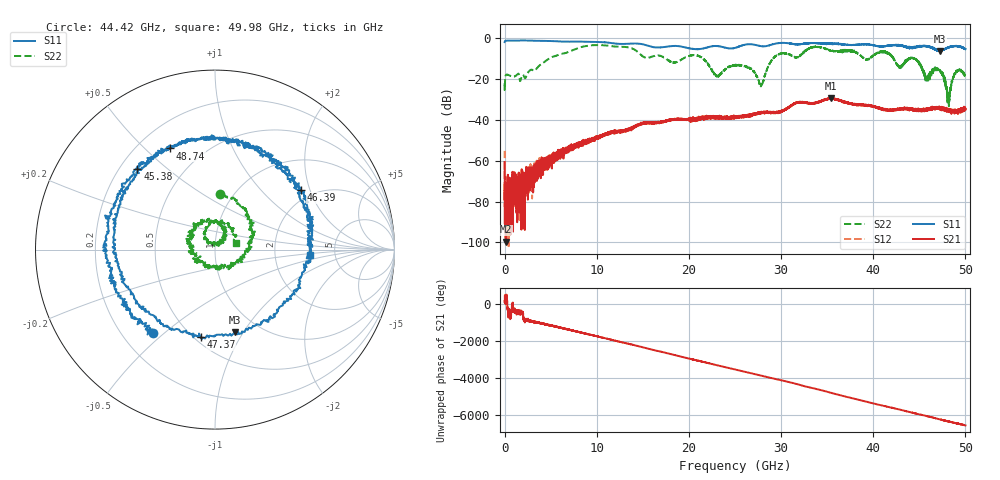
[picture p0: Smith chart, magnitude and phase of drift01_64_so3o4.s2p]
!Created with skrf (http://scikit-rf.org).
# Hz S RI R 50.0
!freq ReS11 ImS11 ReS21 ImS21 ReS12 ImS12 ReS22 ImS22
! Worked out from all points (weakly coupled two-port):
!   10001 points, 300 kHz to 50 GHz, reference 50 ohm
!   highest |S21| = -29.55 dB at 35.42 GHz (marker M1); lowest = -99.6 dB at 115.3 MHz (marker M2)
!   lowest |S11| = -6.5 dB at 47.21 GHz (marker M3), VSWR 2.79, Z = 38.8 - j45.8 ohm
!   |S11| at or under -10 dB: nowhere
!   |S22| runs from -33.5 to -3.6 dB; largest |S21 - S12| = 0.0035
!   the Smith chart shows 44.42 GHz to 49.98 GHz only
!   S11 on the Smith chart (normalised r, x): 44.42 GHz: 0.33, -0.46; 45.38 GHz: 0.27, +0.40; 46.39 GHz: 1.72, +1.73; 47.37 GHz: 0.54, -0.70; 48.74 GHz: 0.33, +0.60; 49.98 GHz: 3.23, -0.25
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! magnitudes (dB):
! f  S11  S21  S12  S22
! 300 kHz  -2.1  -60.8  -55.3  -22.3
! 115.3 MHz  -1.5  -99.6  -84.5  -18.4
! 285.3 MHz  -1.4  -71.9  -75.3  -18.0
! 8.335 GHz  -1.9  -51.2  -51.1  -4.6
! 16.67 GHz  -4.8  -41.7  -41.4  -8.7
! 20.99 GHz  -5.6  -39.6  -40.3  -8.8
! 23.08 GHz  -4.1  -39.0  -39.5  -18.9
! 25 GHz  -5.0  -39.0  -38.8  -13.6
! 27.85 GHz  -4.1  -36.5  -36.6  -23.2
! 29.45 GHz  -2.9  -36.2  -36.4  -8.9
! 33.34 GHz  -2.6  -31.9  -31.9  -4.8
! 35.42 GHz  -2.8  -29.6  -29.6  -6.3
! 41.67 GHz  -3.8  -35.3  -35.4  -8.0
! 44.42 GHz  -4.8  -35.5  -35.2  -10.1
! 45.38 GHz  -4.1  -35.4  -35.5  -15.8
! 46.39 GHz  -4.7  -34.7  -35.0  -16.2
! 47.21 GHz  -6.5  -34.5  -34.4  -16.1
! 47.37 GHz  -6.1  -34.1  -34.7  -16.9
! 48.13 GHz  -4.8  -36.1  -35.0  -27.9
! 48.74 GHz  -4.2  -36.0  -35.9  -19.0
! 49.98 GHz  -5.5  -34.3  -34.5  -18.2
! 50 GHz  -5.5  -34.7  -34.5  -18.3
